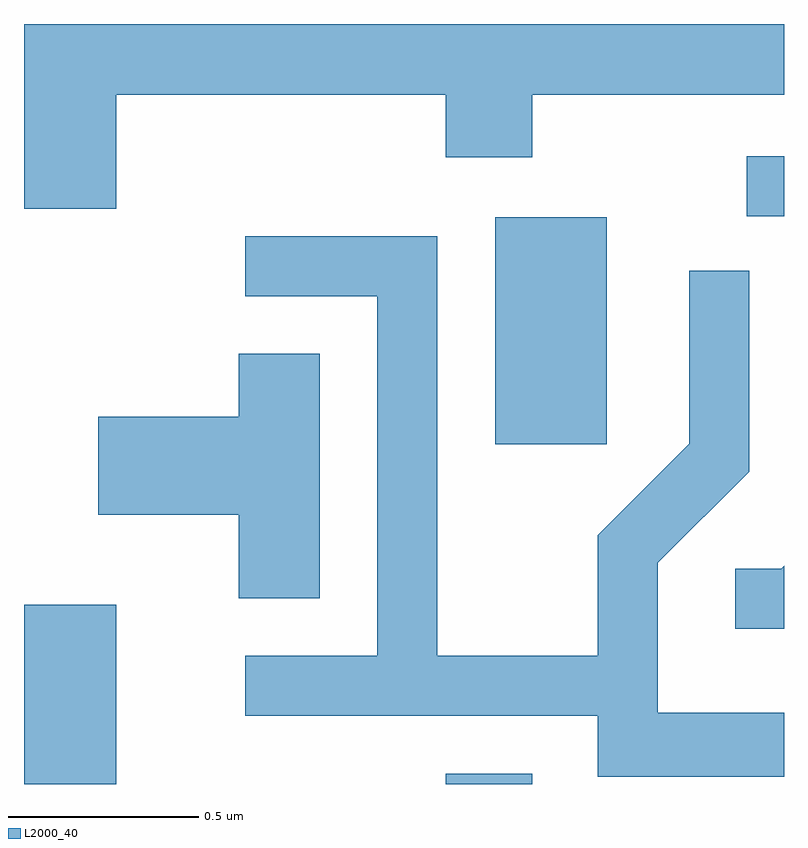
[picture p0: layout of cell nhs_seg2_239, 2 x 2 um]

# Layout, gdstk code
import gdstk
lib = gdstk.Library(unit=1e-6, precision=1e-09)
def R(c, l, rs):  # rectangles x0, y0, x1, y1
    for r in rs: c.add(gdstk.rectangle(r[:2], r[2:], *l))
def P(c, l, *ps):  # polygons
    for p in ps: c.add(gdstk.Polygon(p, *l))
L2000_40 = (2000, 40)

nhs_seg2_239 = lib.new_cell('nhs_seg2_239')
R(nhs_seg2_239, L2000_40, [(186.611,1079.802,186.854,1080.274), (187.721,1079.802,187.949,1079.829), (187.851,1080.696,188.144,1081.294), (188.513,1081.296,188.611,1081.454)])
P(nhs_seg2_239, L2000_40, [(186.854,1081.616),(187.721,1081.616),(187.721,1081.451),(187.949,1081.451),(187.949,1081.616),(188.611,1081.616),(188.611,1081.802),(186.611,1081.802),(186.611,1081.316),(186.854,1081.316)],
  [(188.611,1079.989),(188.279,1079.989),(188.279,1080.384),(188.519,1080.624),(188.519,1081.153),(188.361,1081.153),(188.361,1080.697),(188.121,1080.457),(188.121,1080.139),(187.699,1080.139),(187.699,1081.244),(187.193,1081.244),(187.193,1081.086),(187.541,1081.086),(187.541,1080.139),(187.193,1080.139),(187.193,1079.981),(188.121,1079.981),(188.121,1079.821),(188.611,1079.821)],
  [(187.389,1080.934),(187.176,1080.934),(187.176,1080.769),(186.806,1080.769),(186.806,1080.511),(187.176,1080.511),(187.176,1080.291),(187.389,1080.291)],
  [(188.611,1080.376),(188.604,1080.369),(188.483,1080.369),(188.483,1080.211),(188.611,1080.211)])

lib.write_gds('nhs_seg2_239.gds')
